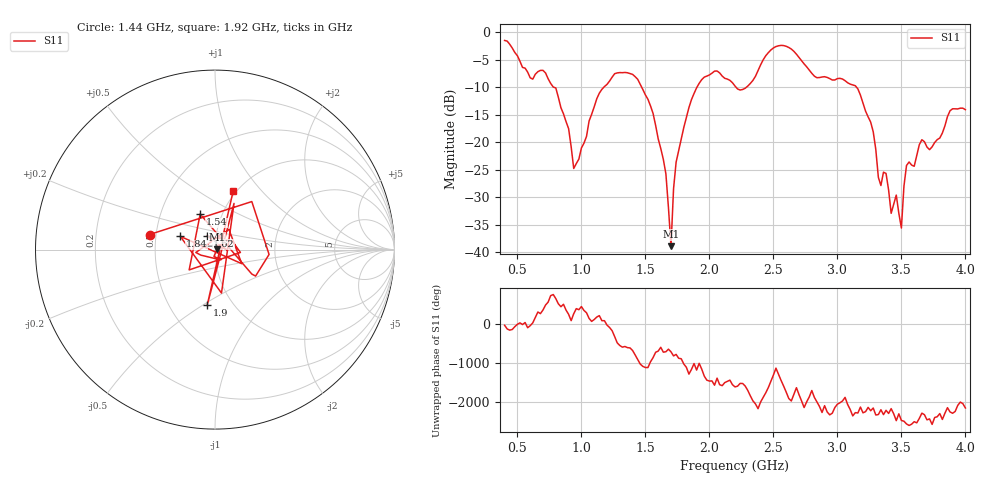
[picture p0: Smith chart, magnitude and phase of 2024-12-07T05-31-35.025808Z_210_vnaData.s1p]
!Created with skrf (http://scikit-rf.org).
# Hz S RI R 50.0
!freq ReS11 ImS11
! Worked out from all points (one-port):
!   181 points, 400 MHz to 4 GHz, reference 50 ohm
!   lowest |S11| = -38.9 dB at 1.7 GHz (marker M1), VSWR 1.02, Z = 51.2 + j0.0876 ohm
!   |S11| at or under -10 dB: 786.9 MHz to 1.174 GHz (387.3 MHz wide, 39.5 % of centre); 1.472 GHz to 1.902 GHz (430.2 MHz wide, 25.5 % of centre); 3.15 GHz to end of sweep (the widest 3 of 4)
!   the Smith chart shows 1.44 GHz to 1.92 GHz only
!   S11 on the Smith chart (normalised r, x): 1.44 GHz: 0.46, +0.09; 1.54 GHz: 0.79, +0.33; 1.62 GHz: 0.91, +0.14; 1.84 GHz: 0.67, +0.10; 1.9 GHz: 0.76, -0.52; 1.92 GHz: 0.96, +0.72
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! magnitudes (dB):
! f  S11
! 400 MHz  -1.5
! 720 MHz  -7.4
! 860 MHz  -14.8
! 940 MHz  -24.7
! 1.14 GHz  -11.1
! 1.3 GHz  -7.3
! 1.44 GHz  -8.5
! 1.54 GHz  -13.4
! 1.62 GHz  -21.1
! 1.66 GHz  -25.7
! 1.7 GHz  -38.9
! 1.72 GHz  -28.4
! 1.76 GHz  -21.5
! 1.84 GHz  -13.7
! 1.9 GHz  -10.1
! 1.92 GHz  -9.3
! 2.2 GHz  -9.8
! 2.66 GHz  -3.5
! 3.1 GHz  -9.4
! 3.26 GHz  -16.3
! 3.32 GHz  -26.3
! 3.38 GHz  -25.6
! 3.42 GHz  -32.9
! 3.46 GHz  -29.6
! 3.5 GHz  -35.6
! 3.52 GHz  -27.9
! 3.56 GHz  -23.6
! 4 GHz  -14.0
